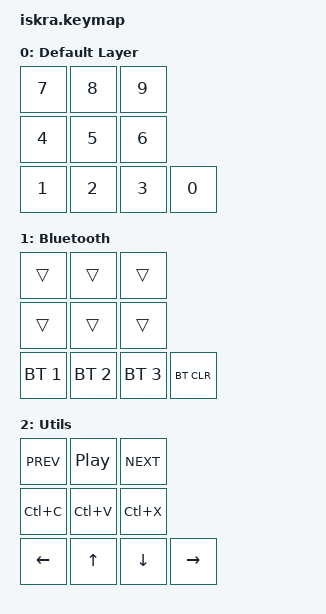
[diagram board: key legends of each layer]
#include <behaviors.dtsi>
#include <dt-bindings/zmk/keys.h>
#include <dt-bindings/zmk/bt.h>

/ {
    keymap {
        compatible = "zmk,keymap";

        default_layer {
            // -------------------------------------
            // |     7     |     8     |     9     |
            // |     4     |     5     |     6     | -----------
            // |     1     |     2     |     3     |     0     |
            // -------------------------------------------------
            display-name = "Default Layer";
            bindings = <
                &kp N7    &kp N8    &kp N9
                &kp N4    &kp N5    &kp N6
                &kp N1    &kp N2    &kp N3   &kp N0
            >;
        };

		bt_layer {
			display-name = "Bluetooth";
			bindings = <
				&trans &trans &trans
				&trans &trans &trans
				&bt BT_SEL 1 &bt BT_SEL 2 &bt BT_SEL 3 &bt BT_CLR
			>;
		};

		layer3 {
			display-name = "Utils";
			bindings = <
				&kp C_PREV &kp C_PLAY_PAUSE &kp C_NEXT
				&kp LC(C)   &kp LC(V)        &kp LC(X)
				&kp LEFT    &kp UP           &kp DOWN    &kp RIGHT
			>;
		};

    combos {
		compatible = "zmk,combos";
		combo_base: combo_base { timeout-ms = <100>; key-positions = <0 1 2>; bindings = <&to 0>; };
		combo_bt: combo_bt { timeout-ms = <100>; key-positions = <3 4 5>; bindings = <&to 1>; };
		combo_l3: combo_l3 { timeout-ms = <100>; key-positions = <6 7 8>; bindings = <&to 2>; };
		combo_studio_unlock: combo_studio_unlock { timeout-ms = <150>; key-positions = <0 1>; bindings = <&studio_unlock>; };
	};

    };
 };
